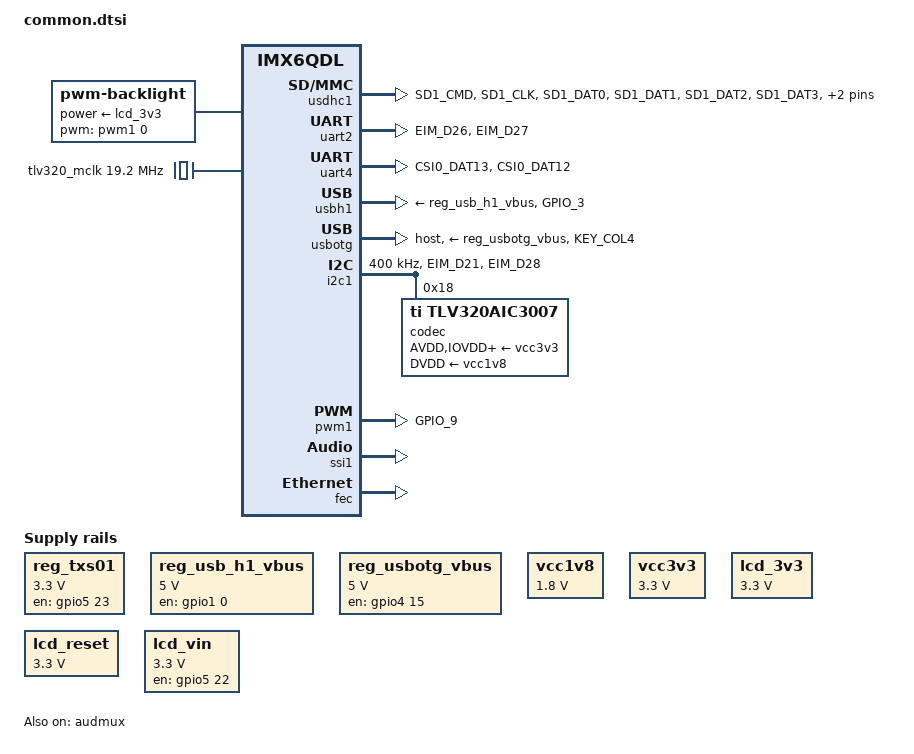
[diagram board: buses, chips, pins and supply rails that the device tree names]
/*
 * Copyright (C) 2016 PHYTEC Messtechnik
 * Author: Alexander Bauer <a.bauer@phytec.de>
 *
 * The code contained herein is licensed under the GNU General Public
 * License. You may obtain a copy of the GNU General Public License
 * Version 2 or later at the following locations:
 *
 * http://www.opensource.org/licenses/gpl-license.html
 * http://www.gnu.org/copyleft/gpl.html
 */


#include <dt-bindings/sound/fsl-imx-audmux.h>
#include <arm/imx6qdl-phytec-phycore-som.dtsi>
#include "state.dtsi"
#include <dt-bindings/gpio/gpio.h>

/ {
	chosen {
		stdout-path = &uart2;
		linux,stdout-path = &uart2;
		/delete-node/ environment-sd1;
		/delete-node/ environment-sd4;
		/delete-node/ environment-spinor;
		/delete-node/ environment-nand;
	};

	backlight: backlight {
		compatible = "pwm-backlight";
		power-supply = <&lcd_3v3>;
		pwms = <&pwm1 0 5000000>;
		status = "okay";
		default-brightness-level = <102>;
		brightness-levels = <0 12 14 15 16 17 19 21 22 24 26 28 29 30 33 34 35 36 39 40 41 43 44 46 47 49 50 52 53 54 56 58 60 61 62 64 65 67 69 70 72 73 75 77 78 79 81 83 84 85 87 88 90 91 93 94 96 98 99 100 102 104 105 106 108 109 111 112 114 115 117 119 120 122 123 125 126 128 129 131 132 134 134 135 136 136 136 137 137 137 137 138 138 138 138 138 138 138 138 138 138 138 255>;
	};

	reg_txs01: regulator-reg_txs0 {
		pinctrl-names = "default";
		pinctrl-0 = <&pinctrl_txs01>;
		compatible = "regulator-fixed";
		regulator-name = "txs01";
		regulator-min-microvolt = <3300000>;
		regulator-max-microvolt = <3300000>;
		gpio = <&gpio5 23 0>;
		enable-active-high;
		regulator-always-on;
	};

	reg_usb_h1_vbus: regulator-reg_usb_h1_vbus {
		pinctrl-names = "default";
		pinctrl-0 = <&pinctrl_usbh1_vbus>;
		compatible = "regulator-fixed";
		regulator-name = "usb_h1_vbus";
		regulator-min-microvolt = <5000000>;
		regulator-max-microvolt = <5000000>;
		gpio = <&gpio1 0 0>;
		enable-active-high;
		regulator-always-on;
	};

	reg_usbotg_vbus: regulator-reg_usbotg_vbus {
		pinctrl-names = "default";
		pinctrl-0 = <&pinctrl_usbotg_vbus>;
		compatible = "regulator-fixed";
		regulator-name = "usb_otg_vbus";
		regulator-min-microvolt = <5000000>;
		regulator-max-microvolt = <5000000>;
		gpio = <&gpio4 15 0>;
		enable-active-high;
		regulator-always-on;
	};

	vcc1v8: regulator-vcc1v8 {
		compatible = "regulator-fixed";
		regulator-name = "i2s-audio-1v8";
		regulator-min-microvolt = <1800000>;
		regulator-max-microvolt = <1800000>;
	};

	vcc3v3: regulator-vcc3v3 {
		compatible = "regulator-fixed";
		regulator-name = "i2s-audio-3v3";
		regulator-min-microvolt = <3300000>;
		regulator-max-microvolt = <3300000>;
	};

	lcd_3v3: regulator-lcd_3v3 {
		pinctrl-names = "default";
		pinctrl-0 = <&pinctrl_backlight_en>;
		compatible = "regulator-fixed";
		regulator-name = "lcd_3v3";
		regulator-min-microvolt = <3300000>;
		regulator-max-microvolt = <3300000>;
		/delete-property/ enable-active-high;
		regulator-always-on;
	};

	lcd_reset: regulator-lcd_reset {
		pinctrl-names = "default";
		pinctrl-0 = <&pinctrl_display_reset>;
		compatible = "regulator-fixed";
		regulator-name = "lcd_reset";
		regulator-min-microvolt = <3300000>;
		regulator-max-microvolt = <3300000>;
		enable-active-high;
		regulator-always-on;
	};

	lcd_vin: regulator-lcd_vin {
		pinctrl-names = "default";
		pinctrl-0 = <&pinctrl_display_vin>;
		compatible = "regulator-fixed";
		gpio = <&gpio5 22 0>;
		regulator-name = "lcd_vin";
		regulator-min-microvolt = <3300000>;
		regulator-max-microvolt = <3300000>;
		enable-active-high;
		regulator-always-on;
	};

	tlv320_mclk: oscillator {
		compatible = "fixed-clock";
		#clock-cells = <0>;
		clock-frequency = <19200000>;
		clock-output-names = "tlv320-mclk";
	};

	sound {
		compatible = "simple-audio-card";
		simple-audio-card,name = "OnboardTLV320AIC3007";
		simple-audio-card,format = "i2s";
		simple-audio-card,bitclock-master = <&dailink_master>;
		simple-audio-card,frame-master = <&dailink_master>;
		simple-audio-card,widgets =
			"Speaker", "Speaker";
		simple-audio-card,routing =
			"Speaker", "SPOP",
			"Speaker", "SPOM";

		simple-audio-card,cpu {
			sound-dai = <&ssi1>;
		};

		dailink_master: simple-audio-card,codec {
			sound-dai = <&codec>;
			clocks = <&tlv320_mclk>;
		};
	};
};

&iomuxc {

	pinctrl-names = "default";

	pinctrl-0 = <&pinctrl_ios>;

	pinctrl_usdhc1: usdhc1grp {
		fsl,pins = <
			MX6QDL_PAD_SD1_CMD__SD1_CMD             0x170f9
			MX6QDL_PAD_SD1_CLK__SD1_CLK             0x100f9
			MX6QDL_PAD_SD1_DAT0__SD1_DATA0          0x170f9
			MX6QDL_PAD_SD1_DAT1__SD1_DATA1          0x170f9
			MX6QDL_PAD_SD1_DAT2__SD1_DATA2          0x170f9
			MX6QDL_PAD_SD1_DAT3__SD1_DATA3          0x170f9
			MX6QDL_PAD_EIM_BCLK__GPIO6_IO31         0x80000000
		>;
	};
	pinctrl_uart2: uart2grp {
		fsl,pins = <
			MX6QDL_PAD_EIM_D26__UART2_TX_DATA	0x1b0b1
			MX6QDL_PAD_EIM_D27__UART2_RX_DATA	0x1b0b1
		>;
	};

	pinctrl_usbh1: usbh1grp {
		fsl,pins = <
			MX6QDL_PAD_GPIO_3__USB_H1_OC		0x80000000
		>;
	};

	pinctrl_usbh1_vbus: usbh1-vbusgrp {
		fsl,pins = <
			MX6QDL_PAD_GPIO_0__GPIO1_IO00		0x80000000
		>;
	};
	pinctrl_usbotg: usbotggrp {
		fsl,pins = <
			MX6QDL_PAD_KEY_COL4__USB_OTG_OC		0x1b0b0
		>;
	};

	pinctrl_txs01: txs01grp {
		fsl,pins = <
			MX6QDL_PAD_CSI0_DAT5__GPIO5_IO23	0x80000000
		>;
	};

	pinctrl_usbotg_vbus: usbotg-vbusgrp {
		fsl,pins = <
			MX6QDL_PAD_KEY_ROW4__GPIO4_IO15		0x80000000
		>;
	};

	pinctrl_i2c1: i2c1grp {
		fsl,pins = <
			MX6QDL_PAD_EIM_D21__I2C1_SCL		0x4001b8b1
			MX6QDL_PAD_EIM_D28__I2C1_SDA		0x4001b8b1
		>;
	};

	pinctrl_i2c2: i2c2grp {
		fsl,pins = <
			MX6QDL_PAD_KEY_ROW3__I2C2_SDA		0x4001b8b1
			MX6QDL_PAD_KEY_COL3__I2C2_SCL		0x4001b8b1
		>;
	};

	pinctrl_pwm1: pwm1grp {
		fsl,pins = <MX6QDL_PAD_GPIO_9__PWM1_OUT		0x1b0b1>;
	};

	pinctrl_display_vin: displayvin1grp {
		fsl,pins = <MX6QDL_PAD_CSI0_DAT4__GPIO5_IO22	0x80000000>;
	};

	pinctrl_display_reset: displayreset1grp {
		fsl,pins = <MX6QDL_PAD_DI0_PIN4__GPIO4_IO20	0x80000000>;
	};

	pinctrl_audmux: audmuxgrp {
		fsl,pins = <
			MX6QDL_PAD_KEY_COL0__AUD5_TXC           0x130b0
			MX6QDL_PAD_KEY_ROW0__AUD5_TXD           0x110b0
			MX6QDL_PAD_KEY_COL1__AUD5_TXFS          0x130b0
			MX6QDL_PAD_KEY_ROW1__AUD5_RXD           0x110b0
		>;
	};

	pinctrl_ios: iogrp {
		fsl,pins = <
			MX6QDL_PAD_CSI0_DAT6__GPIO5_IO24	0x80000000
			MX6QDL_PAD_CSI0_DAT7__GPIO5_IO25	0x80000000
		>;
	};

	pinctrl_uart4: uart4grp {
		fsl,pins = <
			MX6QDL_PAD_CSI0_DAT13__UART4_RX_DATA	0x1b0b1
			MX6QDL_PAD_CSI0_DAT12__UART4_TX_DATA	0x1b0b1
		>;
	};
};

&usdhc1 {
	pinctrl-names = "default";
	pinctrl-0 = <&pinctrl_usdhc1>;
	cd-gpios = <&gpio6 31 GPIO_ACTIVE_LOW>;
	no-1-8-v;
	status = "okay";
};

&uart2 {
	pinctrl-names = "default";
	pinctrl-0 = <&pinctrl_uart2>;
	status = "okay";
};

&uart4 {
	pinctrl-names = "default";
	pinctrl-0 = <&pinctrl_uart4>;
	status = "okay";
};

&usbh1 {
	vbus-supply = <&reg_usb_h1_vbus>;
	pinctrl-names = "default";
	pinctrl-0 = <&pinctrl_usbh1>;
	maximum-speed = "full-speed";
	status = "okay";
};

&usbotg {
	pinctrl-names = "default";
	pinctrl-0 = <&pinctrl_usbotg>;
	vbus-supply = <&reg_usbotg_vbus>;
		dr_mode = "host";
	status = "okay";
};

&i2c1 {
	pinctrl-names = "default";
	pinctrl-0 = <&pinctrl_i2c1>;
	clock-frequency = <400000>;
	status = "okay";

	codec: tlv320aic3007@18 {
		compatible = "ti,tlv320aic3007";
		#sound-dai-cells = <0>;
		reg = <0x18>;
		ai3x-micbias-vg = <2>;

		AVDD-supply = <&vcc3v3>;
		IOVDD-supply = <&vcc3v3>;
		DRVDD-supply = <&vcc3v3>;
		DVDD-supply = <&vcc1v8>;
		status = "okay";
	};
};

&pwm1 {
	#pwm-cells = <2>;
	pinctrl-names = "default";
	pinctrl-0 = <&pinctrl_pwm1>;
	status = "okay";
};

&audmux {
	pinctrl-names = "default";
	pinctrl-0 = <&pinctrl_audmux>;
	status = "okay";

	/* hardwired to ssi1 */
	audmux_port1 {
		fsl,audmux-port = <MX51_AUDMUX_PORT1_SSI0>;
		fsl,port-config = <
			(IMX_AUDMUX_V2_PTCR_SYN |
			IMX_AUDMUX_V2_PTCR_TFSDIR |
			IMX_AUDMUX_V2_PTCR_TFSEL(MX51_AUDMUX_PORT5) |
			IMX_AUDMUX_V2_PTCR_TCLKDIR |
			IMX_AUDMUX_V2_PTCR_TCSEL(MX51_AUDMUX_PORT5))
			IMX_AUDMUX_V2_PDCR_RXDSEL(MX51_AUDMUX_PORT5)
		>;
	};

	/* connected to tlv320 codec */
	audmux_port5 {
		fsl,audmux-port = <MX51_AUDMUX_PORT5>;
		fsl,port-config = <
			IMX_AUDMUX_V2_PTCR_SYN
			IMX_AUDMUX_V2_PDCR_RXDSEL(MX51_AUDMUX_PORT1_SSI0)
		>;
	};
 };

&ssi1 {
	status = "okay";
};

&fec {
	status = "okay";
};

&pinctrl_gpioleds_som {
	fsl,pins = <
		MX6QDL_PAD_GPIO_4__GPIO1_IO04		0x1b0b0
		MX6QDL_PAD_CSI0_DAT16__GPIO6_IO02		0x1b0b0
		MX6QDL_PAD_CSI0_DAT17__GPIO6_IO03		0x1b0b0
		MX6QDL_PAD_CSI0_DAT18__GPIO6_IO04		0x1b0b0
		MX6QDL_PAD_CSI0_DAT19__GPIO6_IO05		0x1b0b0
	>;
};

&gpio_leds_som {
	/delete-node/ som-led-green;
	controllerboard-heartbeat {
		label = "heartbeat";
		gpios = <&gpio1 4 GPIO_ACTIVE_HIGH>;
		linux,default-trigger = "heartbeat";
	};
	green1 {
		label = "green1";
		gpios = <&gpio6 2 GPIO_ACTIVE_HIGH>;
		default-state = "off";
	};
	green2 {
		label = "green2";
		gpios = <&gpio6 3 GPIO_ACTIVE_HIGH>;
		default-state = "off";
	};
	red1 {
		label = "red1";
		gpios = <&gpio6 4 GPIO_ACTIVE_HIGH>;
		default-state = "off";
	};
	red2 {
		label = "red2";
		gpios = <&gpio6 5 GPIO_ACTIVE_HIGH>;
		default-state = "off";
	};
};

&reg_pu {
	regulator-enable-ramp-delay = <380>;
};
